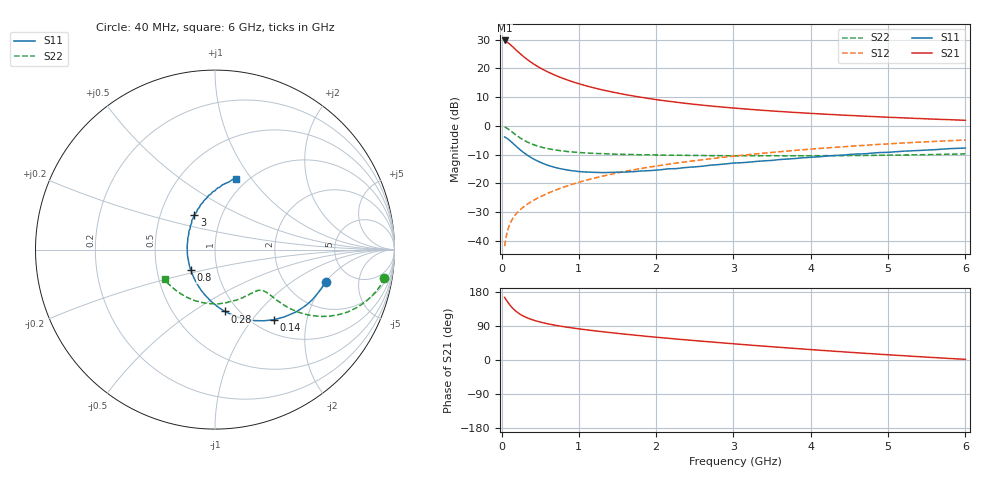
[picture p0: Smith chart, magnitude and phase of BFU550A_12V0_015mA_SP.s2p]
! Filename:  P:\Prog\Test\Noise\ATS_data\Testdata_Net\03 Spar\BFU550A_APG2013_35_C05_12p0V_015mA_SP_CM01_D.s2p
! Date/Time: Tue 16/Apr/2013 15:10:20
! BFU550A_APG2013_35_C05_12p0V_1to35mA_SP_CM01_Bias6_R.s2p
! MDIF S-parameter v. bias file
! BFU550A_APG2013_35_C05_12p0V_1to35mA_SP_CM01
! Date/time Mon Apr 15 17:55:46 2013
! VAR V_out= 12.0010
! VAR I_out= 14.9950
! VAR V_in= 0.7887
! VAR I_in= 0.1391
! Device data file deembeded for feedlines and parallel
! Original file: \03 Spar\BFU550A_APG2013_35_C05_12p0V_015mA_SP_CM01_R.s2p
! Feed-files: PR017V01_150413_Feed1.s2p, PR017V01_150413_Feed2.s2p
! Parallel-file: PR017V01_150413_Par.s2p
# MHz S MA R 50
!  Freq-MHz  S11-mag  S11-arg  S21-mag  S21-arg  S12-mag  S12-arg  S22-mag  S22-arg
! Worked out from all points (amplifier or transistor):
!   98 points, 40 MHz to 6 GHz, reference 50 ohm
!   highest |S21| = 29.7 dB at 40 MHz (marker M1)
!   |S21| within 3 dB of that: start of sweep to 175.9 MHz
!   unconditionally stable (mu >= 1): 1.233 GHz to 2.163 GHz
!   at 300 MHz: K = 0.70, MSG = 25.8 dB, |S12| = -27.9 dB
!   at 1.6 GHz: K = 1.01, MAG = 12.9 dB, |S12| = -15.8 dB
!   at 6 GHz: K = 0.91, MSG = 3.4 dB, |S12| = -4.9 dB
!   S11 on the Smith chart (normalised r, x): 40 MHz: 3.30, -2.00; 140 MHz: 1.22, -1.29; 280 MHz: 0.87, -0.68; 800 MHz: 0.74, -0.17; 3 GHz: 0.74, +0.30; 6 GHz: 0.89, +0.84
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40  0.6428 -16.1  30.66 165.4  0.008088 80.8  0.9566 -9.5
60  0.6196 -23.8  29.46 158.6  0.01178 78.0  0.9282 -14.5
90  0.5813 -34.6  27.54 149.9  0.01681 74.7  0.8738 -20.4
120  0.5369 -44.5  25.57 142.1  0.02123 71.9  0.8164 -25.2
140  0.509 -50.2  24.13 137.7  0.02384 70.6  0.7771 -27.8
160  0.4806 -55.6  22.73 133.7  0.02633 69.5  0.741 -30.0
200  0.429 -65.1  20.22 126.7  0.03073 68.1  0.6736 -33.3
240  0.3853 -73.4  18.12 121.0  0.03472 67.5  0.6189 -35.6
280  0.3494 -80.7  16.3 116.3  0.0385 67.4  0.5733 -37.1
320  0.3193 -87.2  14.75 112.4  0.04215 67.4  0.5361 -38.0
380  0.2826 -95.8  12.86 107.5  0.04753 67.8  0.4918 -38.8
480  0.2408 -108.4  10.56 101.3  0.0565 68.6  0.441 -39.3
600  0.2066 -121.4  8.683 95.5  0.06734 69.4  0.4017 -39.4
800  0.1761 -140.2  6.675 88.2  0.08576 70.2  0.3658 -40.0
1050  0.1589 -160.3  5.182 80.9  0.1092 70.2  0.3416 -41.5
1500  0.1569 171.3  3.724 70.3  0.1521 68.5  0.3215 -46.8
2050  0.1722 147.7  2.807 59.2  0.2048 65.1  0.3112 -55.8
3000  0.226 120.5  2.049 42.8  0.2974 57.7  0.3011 -74.9
3100  0.2288 118.1  1.997 41.2  0.3073 56.8  0.302 -77.2
4100  0.2898 99.3  1.623 26.0  0.4038 47.3  0.303 -101.0
5200  0.3632 83.5  1.379 11.3  0.505 35.9  0.3115 -128.4
6000  0.412 73.5  1.251 1.8  0.5671 27.0  0.325 -150.0
